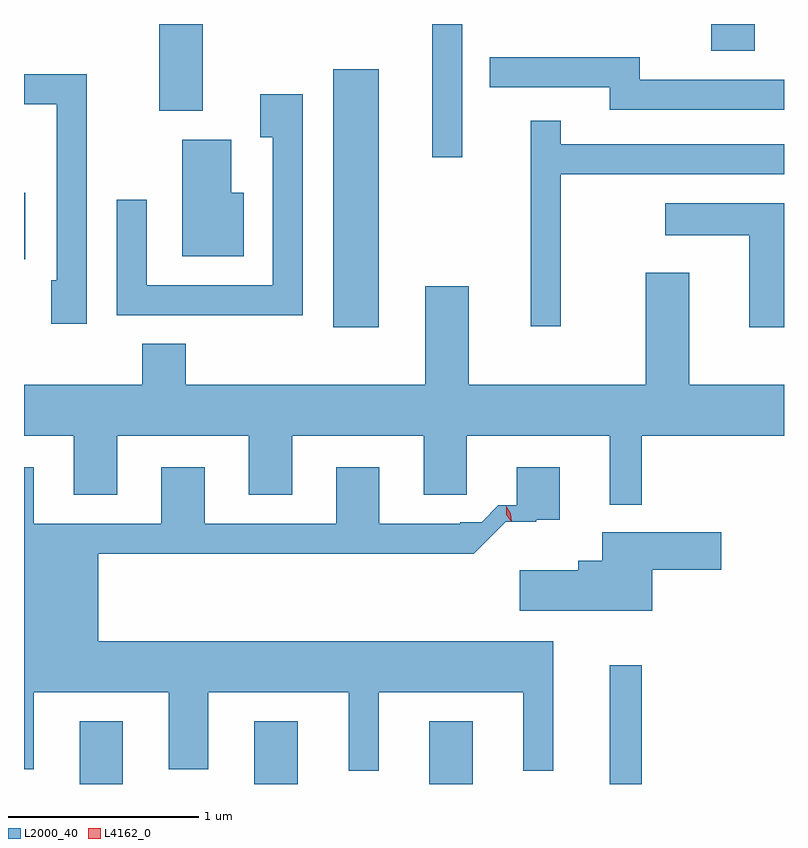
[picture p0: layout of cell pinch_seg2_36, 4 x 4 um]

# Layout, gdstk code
import gdstk
lib = gdstk.Library(unit=1e-6, precision=1e-09)
def R(c, l, rs):  # rectangles x0, y0, x1, y1
    for r in rs: c.add(gdstk.rectangle(r[:2], r[2:], *l))
def A(c, l, x, y, w, h, nx, ny, dx, dy):  # array of equal rectangles
    R(c, l, [(x+i*dx, y+j*dy, x+i*dx+w, y+j*dy+h) for i in range(nx) for j in range(ny)])
def P(c, l, *ps):  # polygons
    for p in ps: c.add(gdstk.Polygon(p, *l))
L2000_40 = (2000, 40)
L4162_0 = (4162, 0)

pinch_seg2_36 = lib.new_cell('pinch_seg2_36')
A(pinch_seg2_36, L2000_40, 844.071, 1106.423, 0.228, 0.331, 3, 1, 0.92, 0)
R(pinch_seg2_36, L2000_40, [(846.861,1106.423,847.029,1107.048), (845.406,1108.826,845.644,1110.184), (843.778,1109.186,843.784,1109.534), (845.926,1109.723,846.084,1110.423), (844.491,1109.966,844.719,1110.423), (847.396,1110.281,847.624,1110.423)])
P(pinch_seg2_36, L2000_40, [(847.778,1110.129),(847.019,1110.129),(847.019,1110.249),(846.228,1110.249),(846.228,1110.091),(846.861,1110.091),(846.861,1109.971),(847.778,1109.971)],
  [(844.109,1110.159),(843.778,1110.159),(843.778,1110.001),(843.951,1110.001),(843.951,1109.074),(843.921,1109.074),(843.921,1108.846),(844.109,1108.846)],
  [(845.244,1110.054),(845.021,1110.054),(845.021,1109.826),(845.086,1109.826),(845.086,1109.049),(844.424,1109.049),(844.424,1109.498),(844.266,1109.498),(844.266,1108.891),(845.244,1108.891)],
  [(846.604,1109.631),(847.778,1109.631),(847.778,1109.789),(846.604,1109.789),(846.604,1109.913),(846.446,1109.913),(846.446,1108.833),(846.604,1108.833)],
  [(844.934,1109.534),(844.869,1109.534),(844.869,1109.814),(844.611,1109.814),(844.611,1109.201),(844.934,1109.201)],
  [(847.778,1109.479),(847.153,1109.479),(847.153,1109.311),(847.596,1109.311),(847.596,1108.826),(847.778,1108.826)],
  [(847.029,1108.256),(847.778,1108.256),(847.778,1108.524),(847.279,1108.524),(847.279,1109.114),(847.051,1109.114),(847.051,1108.524),(846.119,1108.524),(846.119,1109.044),(845.891,1109.044),(845.891,1108.524),(844.629,1108.524),(844.629,1108.739),(844.401,1108.739),(844.401,1108.524),(843.778,1108.524),(843.778,1108.256),(844.041,1108.256),(844.041,1107.946),(844.269,1107.946),(844.269,1108.256),(844.961,1108.256),(844.961,1107.946),(845.189,1107.946),(845.189,1108.256),(845.881,1108.256),(845.881,1107.946),(846.109,1107.946),(846.109,1108.256),(846.861,1108.256),(846.861,1107.893),(847.029,1107.893)],
  [(845.644,1106.906),(846.406,1106.906),(846.406,1106.493),(846.564,1106.493),(846.564,1107.174),(844.169,1107.174),(844.169,1107.636),(846.145,1107.636),(846.313,1107.804),(846.475,1107.804),(846.475,1107.813),(846.599,1107.813),(846.599,1108.089),(846.371,1108.089),(846.371,1107.89),(846.275,1107.89),(846.186,1107.801),(846.075,1107.801),(846.075,1107.794),(845.649,1107.794),(845.649,1108.089),(845.421,1108.089),(845.421,1107.794),(844.729,1107.794),(844.729,1108.089),(844.501,1108.089),(844.501,1107.794),(843.829,1107.794),(843.829,1108.089),(843.778,1108.089),(843.778,1106.501),(843.829,1106.501),(843.829,1106.906),(844.541,1106.906),(844.541,1106.501),(844.749,1106.501),(844.749,1106.906),(845.486,1106.906),(845.486,1106.493),(845.644,1106.493)],
  [(847.084,1107.551),(847.449,1107.551),(847.449,1107.749),(846.821,1107.749),(846.821,1107.599),(846.696,1107.599),(846.696,1107.549),(846.386,1107.549),(846.386,1107.336),(847.084,1107.336)])
P(pinch_seg2_36, L4162_0, [(846.343,1107.805),(846.32,1107.841),(846.316,1107.883),(846.316,1107.884),(846.316,1107.884),(846.339,1107.848),(846.344,1107.805),(846.344,1107.805)],
  [(846.336,1107.81),(846.317,1107.84),(846.316,1107.876),(846.316,1107.877),(846.316,1107.877),(846.336,1107.846),(846.337,1107.81),(846.337,1107.81)])

lib.write_gds('pinch_seg2_36.gds')
